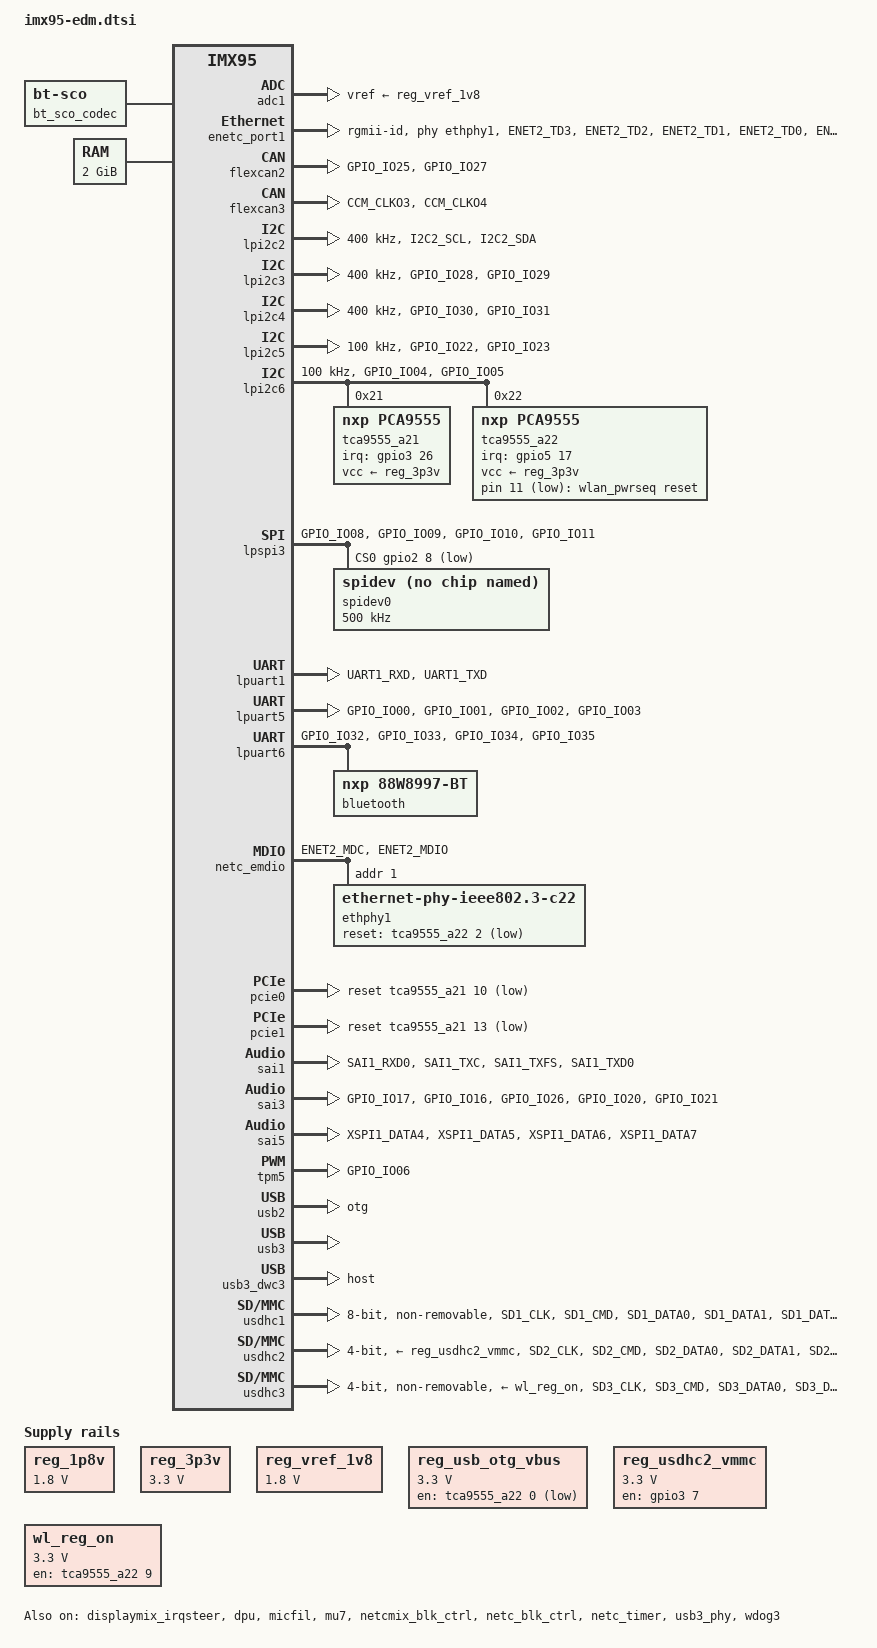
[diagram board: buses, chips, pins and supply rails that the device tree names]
// SPDX-License-Identifier: (GPL-2.0 OR MIT)
/*
 * Copyright 2025 TechNexion Ltd.
 *
 * Author: Richard Hu <richard.hu@technexion.com>
 *
 */

/dts-v1/;

#include "imx95.dtsi"

/ {
	bt_sco_codec: bt_sco_codec {
		compatible = "linux,bt-sco";
		#sound-dai-cells = <1>;
	};

	chosen {
		#address-cells = <2>;
		#size-cells = <2>;
		stdout-path = &lpuart1;

		/* will be updated by U-boot when booting Xen */
		module@0 {
			compatible = "xen,linux-zimage", "xen,multiboot-module";
			reg = <0x00000000 0x9e000000 0x00000000 0x2000000>;
			bootargs = "earlycon=xen console=hvc0 loglevel=8 root=/dev/mmcblk1p2 rw rootwait";
		};
	};

	cm7: imx95-cm7 {
		compatible = "fsl,imx95-cm7";
		mboxes = <&mu7 0 1
			  &mu7 1 1
			  &mu7 3 1>;
		mbox-names = "tx", "rx", "rxdb";
		memory-region = <&vdevbuffer>, <&vdev0vring0>, <&vdev0vring1>,
				<&vdev1vring0>, <&vdev1vring1>, <&rsc_table>;
		/* cpuid and lmmid must align with SM firmware */
		fsl,cpu-id = <1>;
		fsl,lmm-id = <1>;
		fsl,startup-delay-ms = <50>;
		status = "okay";
	};

	reg_1p8v: regulator-1p8v {
		compatible = "regulator-fixed";
		regulator-max-microvolt = <1800000>;
		regulator-min-microvolt = <1800000>;
		regulator-name = "+V1.8_SW";
	};

	reg_3p3v: regulator-3p3v {
		compatible = "regulator-fixed";
		regulator-max-microvolt = <3300000>;
		regulator-min-microvolt = <3300000>;
		regulator-name = "+V3.3_SW";
	};

	reg_vref_1v8: regulator-adc-vref {
		compatible = "regulator-fixed";
		regulator-max-microvolt = <1800000>;
		regulator-min-microvolt = <1800000>;
		regulator-name = "vref_1v8";
	};

	reg_usb_otg_vbus: regulator-otg-vbus {
		compatible = "regulator-fixed";
		enable-active-low;
		pinctrl-names = "default";
		regulator-max-microvolt = <3300000>;
		regulator-min-microvolt = <3300000>;
		regulator-name = "usb_otg_vbus";
		gpio = <&tca9555_a22 0 GPIO_ACTIVE_LOW>;
	};

	reg_usdhc2_vmmc: regulator-usdhc2 {
		compatible = "regulator-fixed";
		off-on-delay-us = <12000>;
		pinctrl-0 = <&pinctrl_reg_usdhc2_vmmc>;
		pinctrl-names = "default";
		regulator-max-microvolt = <3300000>;
		regulator-min-microvolt = <3300000>;
		regulator-name = "VDD_SD2_3V3";
		gpio = <&gpio3 7 GPIO_ACTIVE_HIGH>;
		enable-active-high;
	};

	wl_reg_on: regulator-wl-reg-on {
		compatible = "regulator-fixed";
		pinctrl-names = "default";
		regulator-max-microvolt = <3300000>;
		regulator-min-microvolt = <3300000>;
		regulator-name = "WL_REG_ON";
		startup-delay-us = <100>;
		gpio = <&tca9555_a22 9 GPIO_ACTIVE_HIGH>;
		enable-active-high;
		/* WL_REG_ON */
		/*
		 * IW612 wifi chip needs more delay than other wifi chips to complete
		 * the host interface initialization after power up, otherwise the
		 * internal state of IW612 may be unstable, resulting in the failure of
		 * the SDIO3.0 switch voltage.
		 */
		off-on-delay = <20000>;
	};

	reserved-memory {
		ranges;
		#address-cells = <2>;
		#size-cells = <2>;

		linux_cma: linux,cma {
			compatible = "shared-dma-pool";
			alloc-ranges = <0 0x80000000 0 0x7f000000>;
			reusable;
			size = <0 0x3c000000>;
			linux,cma-default;
		};

		vdev0vring0: vdev0vring0@88000000 {
			reg = <0 0x88000000 0 0x8000>;
			no-map;
		};

		vdev0vring1: vdev0vring1@88008000 {
			reg = <0 0x88008000 0 0x8000>;
			no-map;
		};

		vdev1vring0: vdev1vring0@88010000 {
			reg = <0 0x88010000 0 0x8000>;
			no-map;
		};

		vdev1vring1: vdev1vring1@88018000 {
			reg = <0 0x88018000 0 0x8000>;
			no-map;
		};

		vdevbuffer: vdevbuffer@88020000 {
			compatible = "shared-dma-pool";
			reg = <0 0x88020000 0 0x100000>;
			no-map;
		};

		rsc_table: rsc-table@88220000 {
			reg = <0 0x88220000 0 0x1000>;
			no-map;
		};

		vpu_boot: vpu_boot@a0000000 {
			reg = <0 0xa0000000 0 0x100000>;
			no-map;
		};
	};

	sound-bt-sco {
		compatible = "simple-audio-card";
		simple-audio-card,bitclock-inversion;
		simple-audio-card,bitclock-master = <&btcpu>;
		simple-audio-card,format = "dsp_a";
		simple-audio-card,frame-master = <&btcpu>;
		simple-audio-card,name = "bt-sco-audio";

		simple-audio-card,codec {
			sound-dai = <&bt_sco_codec 1>;
		};

		btcpu: simple-audio-card,cpu {
			dai-tdm-slot-num = <2>;
			dai-tdm-slot-width = <16>;
			sound-dai = <&sai1>;
		};
	};

	sound-micfil {
		compatible = "fsl,imx-audio-card";
		model = "micfil-audio";

		pri-dai-link {
			format = "i2s";
			link-name = "micfil hifi";

			cpu {
				sound-dai = <&micfil>;
			};
		};
	};

	wlan_pwrseq: wifi-pwrseq {
		compatible = "mmc-pwrseq-simple";
		/* SDIO_REG_ON */
		reset-gpios = <&tca9555_a22 11 GPIO_ACTIVE_LOW>;
	};

	memory@80000000 {
		reg = <0x0 0x80000000 0 0x80000000>;
		device_type = "memory";
	};
};

&adc1 {
	vref-supply = <&reg_vref_1v8>;
	status = "okay";
};

&displaymix_irqsteer {
	status = "okay";
};

&dpu {
	status = "okay";
};

&enetc_port1 {
	/* RTL8211F on SOM */
	pinctrl-names = "default";
	phy-handle = <&ethphy1>;
	phy-mode = "rgmii-id";
	pinctrl-0 = <&pinctrl_enetc1>;
	status = "okay";
};

&flexcan2 {
	/* CAN_2 on EDM */
	pinctrl-0 = <&pinctrl_flexcan2>;
	pinctrl-names = "default";
};

&flexcan3 {
	/* CAN_1 on EDM */
	pinctrl-0 = <&pinctrl_flexcan3>;
	pinctrl-names = "default";
};

&lpi2c2 {
	clock-frequency = <400000>;
	pinctrl-0 = <&pinctrl_lpi2c2>;
	pinctrl-names = "default";
	status = "okay";
};

&lpi2c3 {
	/* I2C_C on EDM */
	clock-frequency = <400000>;
	pinctrl-0 = <&pinctrl_lpi2c3>;
	pinctrl-names = "default";
	status = "okay";
};

&lpi2c4 {
	/* I2C_D on EDM */
	clock-frequency = <400000>;
	pinctrl-0 = <&pinctrl_lpi2c4>;
	pinctrl-names = "default";
	status = "okay";
};

&lpi2c5 {
	/* I2C_B on EDM */
	clock-frequency = <100000>;
	pinctrl-0 = <&pinctrl_lpi2c5>;
	pinctrl-names = "default";
	status = "okay";
};

&lpi2c6 {
	/* I2C_A on EDM */
	#address-cells = <1>;
	#size-cells = <0>;
	clock-frequency = <100000>;
	pinctrl-0 = <&pinctrl_lpi2c6>;
	pinctrl-names = "default";
	status = "okay";

	tca9555_a21: gpio@21 {
		compatible = "nxp,pca9555";
		reg = <0x21>;
		#interrupt-cells = <2>;
		interrupt-controller;
		interrupt-parent = <&gpio3>;
		interrupts = <26 IRQ_TYPE_LEVEL_LOW>;
		#gpio-cells = <2>;
		gpio-controller;
		gpio-line-names = "LVDS0_VDDEN", "LVDS0_BL_EN", "LVDS1_VDDEN", "LVDS1_BL_EN", "CSI1_RST_N",
				"CSI1_PWDN", "CSI2_RST_N", "CSI2_PWDN", "PCIE1_WAKE_N", "PCIE1_CLKREQ_N",
				"PCIE1_RST_N", "PCIE2_WAKE_N", "PCIE2_CLKREQ_N", "PCIE2_RST_N", "EXP_GPIO5",
				"USB_SS_SEL";
		pinctrl-0 = <&pinctrl_tca9555_a21_irq>;
		pinctrl-names = "default";
		vcc-supply = <&reg_3p3v>;
		status = "okay";

		tca9555_a21_pins_default: tca9555_a21_pins_default {
			drive-open-drain;
			pins = "PCIE1_CLKREQ_N", "PCIE2_CLKREQ_N";
		};
	};

	tca9555_a22: gpio@22 {
		compatible = "nxp,pca9555";
		reg = <0x22>;
		#gpio-cells = <2>;
		gpio-controller;
		gpio-line-names = "USB_OTG_PWR_EN", "ENET1_RST", "ENET2_RST", "BT_REG_ON", "RST_IND",
				"WL_GPIO0", "HOST_WAKE_WL", "HOST_WAKE_BT", "IW612_IND_RST_15.4", "WL_REG_ON",
				"IW612_GPIO27", "SDIO_REG_ON", "EXP_GPIO1", "EXP_GPIO2", "EXP_GPIO3",
				"EXP_GPIO4";
		vcc-supply = <&reg_3p3v>;
		#interrupt-cells = <2>;
		interrupt-controller;
		interrupt-parent = <&gpio5>;
		interrupts = <17 IRQ_TYPE_LEVEL_LOW>;
		pinctrl-0 = <&pinctrl_tca9555_a22_irq>;
		pinctrl-names = "default";
		status = "okay";

	};
};

&lpspi3 {
	/* lpspi3 work as a master bus */
	cs-gpios = <&gpio2 8 GPIO_ACTIVE_LOW>;
	pinctrl-0 = <&pinctrl_lpspi3>;
	pinctrl-names = "default";
	fsl,spi-num-chipselects = <1>;
	status = "okay";

	spidev0: spi@0 {
		compatible = "rohm,dh2228fv";
		reg = <0>;
		spi-max-frequency = <500000>;
	};
};

&lpuart1 {
	/* console */
	pinctrl-names = "default";
	pinctrl-0 = <&pinctrl_uart1>;
	status = "okay";
};

&lpuart5 {
	/* RS232 */
	pinctrl-names = "default";
	pinctrl-0 = <&pinctrl_uart5>;
	status = "okay";
};

&lpuart6 {
	/* BT */
	pinctrl-names = "default";
	pinctrl-0 = <&pinctrl_uart6>;
	status = "okay";

	bluetooth {
		compatible = "nxp,88w8997-bt";
		fw-init-baudrate = <3000000>;
	};
};

&micfil {
	assigned-clocks = <&scmi_clk IMX95_CLK_AUDIOPLL1_VCO>,
			  <&scmi_clk IMX95_CLK_AUDIOPLL2_VCO>,
			  <&scmi_clk IMX95_CLK_AUDIOPLL1>,
			  <&scmi_clk IMX95_CLK_AUDIOPLL2>,
			  <&scmi_clk IMX95_CLK_PDM>;
	assigned-clock-parents = <0>, <0>, <0>, <0>,
				 <&scmi_clk IMX95_CLK_AUDIOPLL1>;
	assigned-clock-rates = <3932160000>,
			       <3612672000>, <393216000>,
			       <361267200>, <49152000>;
	#sound-dai-cells = <0>;
	pinctrl-0 = <&pinctrl_pdm>;
	pinctrl-names = "default";
	status = "okay";
};

&mu7 {
	status = "okay";
};

&netcmix_blk_ctrl {
	status = "okay";
};

&netc_blk_ctrl {
	status = "okay";
};

&netc_emdio {
	pinctrl-0 = <&pinctrl_emdio>;
	pinctrl-names = "default";
	status = "okay";

	/* RTL8211F on SOM */
	ethphy1: ethernet-phy@1 {
		reg = <1>;
		compatible = "ethernet-phy-ieee802.3-c22";
		eee-broken-1000t;
		reset-assert-us = <35000>;
		reset-deassert-us = <75000>;
		reset-gpios = <&tca9555_a22 2 GPIO_ACTIVE_LOW>;
		realtek,aldps-disable;
		realtek,clkout-disable;
	};
};

&netc_timer {
	status = "okay";
};

&pcie0 {
	reset-gpio = <&tca9555_a21 10 GPIO_ACTIVE_LOW>;
};

&pcie1 {
	reset-gpio = <&tca9555_a21 13 GPIO_ACTIVE_LOW>;
};

&sai1 {
	assigned-clocks = <&scmi_clk IMX95_CLK_AUDIOPLL1_VCO>,
			  <&scmi_clk IMX95_CLK_AUDIOPLL2_VCO>,
			  <&scmi_clk IMX95_CLK_AUDIOPLL1>,
			  <&scmi_clk IMX95_CLK_AUDIOPLL2>,
			  <&scmi_clk IMX95_CLK_SAI1>;
	assigned-clock-parents = <0>, <0>, <0>, <0>,
				 <&scmi_clk IMX95_CLK_AUDIOPLL1>;
	assigned-clock-rates = <3932160000>,
			       <3612672000>, <393216000>,
			       <361267200>, <12288000>;
	#sound-dai-cells = <0>;
	pinctrl-0 = <&pinctrl_sai1>;
	pinctrl-names = "default";
	fsl,sai-mclk-direction-output;
	status = "okay";
};

&sai3 {
	assigned-clocks = <&scmi_clk IMX95_CLK_AUDIOPLL1_VCO>,
			  <&scmi_clk IMX95_CLK_AUDIOPLL2_VCO>,
			  <&scmi_clk IMX95_CLK_AUDIOPLL1>,
			  <&scmi_clk IMX95_CLK_AUDIOPLL2>,
			  <&scmi_clk IMX95_CLK_SAI3>;
	assigned-clock-parents = <0>, <0>, <0>, <0>,
				 <&scmi_clk IMX95_CLK_AUDIOPLL1>;
	assigned-clock-rates = <3932160000>,
			       <3612672000>, <393216000>,
			       <361267200>, <12288000>;
	#sound-dai-cells = <0>;
	pinctrl-0 = <&pinctrl_sai3>;
	pinctrl-names = "default";
	fsl,sai-mclk-direction-output;
	status = "okay";
};

&sai5 {
	assigned-clocks = <&scmi_clk IMX95_CLK_AUDIOPLL1_VCO>,
			  <&scmi_clk IMX95_CLK_AUDIOPLL2_VCO>,
			  <&scmi_clk IMX95_CLK_AUDIOPLL1>,
			  <&scmi_clk IMX95_CLK_AUDIOPLL2>,
			  <&scmi_clk IMX95_CLK_SAI5>;
	assigned-clock-parents = <0>, <0>, <0>, <0>,
				 <&scmi_clk IMX95_CLK_AUDIOPLL1>;
	assigned-clock-rates = <3932160000>,
			       <3612672000>, <393216000>,
			       <361267200>, <12288000>;
	#sound-dai-cells = <0>;
	pinctrl-0 = <&pinctrl_sai5>;
	pinctrl-names = "default";
	fsl,sai-mclk-direction-output;
	status = "okay";
};

&thermal_zones {
	a55-thermal {
		trips {
			atrip2: trip2 {
				hysteresis = <2000>;
				temperature = <55000>;
				type = "active";
			};

			atrip3: trip3 {
				hysteresis = <2000>;
				temperature = <65000>;
				type = "active";
			};

			atrip4: trip4 {
				hysteresis = <2000>;
				temperature = <75000>;
				type = "active";
			};
		};
	};

	pf09 {
		polling-delay = <2000>;
		polling-delay-passive = <250>;
		thermal-sensors = <&scmi_sensor 2>;

		trips {

			pf09_alert: trip0 {
				hysteresis = <2000>;
				temperature = <140000>;
				type = "passive";
			};

			pf09_crit: trip1 {
				hysteresis = <2000>;
				temperature = <155000>;
				type = "critical";
			};
		};
	};

	pf53_arm {
		polling-delay = <2000>;
		polling-delay-passive = <250>;
		thermal-sensors = <&scmi_sensor 4>;

		cooling-maps {
			map0 {
				cooling-device = <&A55_0 THERMAL_NO_LIMIT THERMAL_NO_LIMIT>,
					<&A55_1 THERMAL_NO_LIMIT THERMAL_NO_LIMIT>,
					<&A55_2 THERMAL_NO_LIMIT THERMAL_NO_LIMIT>,
					<&A55_3 THERMAL_NO_LIMIT THERMAL_NO_LIMIT>,
					<&A55_4 THERMAL_NO_LIMIT THERMAL_NO_LIMIT>,
					<&A55_5 THERMAL_NO_LIMIT THERMAL_NO_LIMIT>;
				trip = <&pf5301_alert>;
			};
		};

		trips {

			pf5301_alert: trip0 {
				hysteresis = <2000>;
				temperature = <140000>;
				type = "passive";
			};

			pf5301_crit: trip1 {
				hysteresis = <2000>;
				temperature = <155000>;
				type = "critical";
			};
		};
	};

	pf53_soc {
		polling-delay = <2000>;
		polling-delay-passive = <250>;
		thermal-sensors = <&scmi_sensor 3>;

		trips {

			pf5302_alert: trip0 {
				hysteresis = <2000>;
				temperature = <140000>;
				type = "passive";
			};

			pf5302_crit: trip1 {
				hysteresis = <2000>;
				temperature = <155000>;
				type = "critical";
			};
		};
	};
};

&tpm5 {
	pinctrl-0 = <&pinctrl_tpm5>;
	pinctrl-names = "default";
	status = "okay";
};

&usb2 {
	adp-disable;
	dr_mode = "otg";
	hnp-disable;
	srp-disable;
	usb-role-switch;
	picophy,dc-vol-level-adjust = <7>;
	picophy,pre-emp-curr-control = <3>;
	status = "okay";
};

&usb3 {
	status = "okay";
};

&usb3_dwc3 {
	dr_mode = "host";
	status = "okay";
};

&usb3_phy {
	fsl,phy-pcs-tx-deemph-3p5db-attenuation-db = <17>;
	fsl,phy-pcs-tx-swing-full-percent = <100>;
	fsl,phy-tx-preemp-amp-tune-microamp = <600>;
	fsl,phy-tx-vboost-level-microvolt = <1156>;
	status = "okay";
};

&usdhc1 {
	bus-width = <8>;
	non-removable;
	no-sd;
	no-sdio;
	pinctrl-0 = <&pinctrl_usdhc1>;
	pinctrl-1 = <&pinctrl_usdhc1_100mhz>;
	pinctrl-2 = <&pinctrl_usdhc1_200mhz>;
	pinctrl-3 = <&pinctrl_usdhc1>;
	pinctrl-names = "default", "state_100mhz", "state_200mhz", "sleep";
	status = "okay";
};

&usdhc2 {
	bus-width = <4>;
	cd-gpios = <&gpio3 00 GPIO_ACTIVE_LOW>;
	pinctrl-0 = <&pinctrl_usdhc2>, <&pinctrl_usdhc2_gpio>;
	pinctrl-1 = <&pinctrl_usdhc2_100mhz>, <&pinctrl_usdhc2_gpio>;
	pinctrl-2 = <&pinctrl_usdhc2_200mhz>, <&pinctrl_usdhc2_gpio>;
	pinctrl-3 = <&pinctrl_usdhc2>, <&pinctrl_usdhc2_gpio>;
	pinctrl-names = "default", "state_100mhz", "state_200mhz", "sleep";
	vmmc-supply = <&reg_usdhc2_vmmc>;
	status = "okay";
};

&usdhc3 {
	bus-width = <4>;
	keep-power-in-suspend;
	mmc-pwrseq = <&wlan_pwrseq>;
	non-removable;
	pinctrl-0 = <&pinctrl_usdhc3>;
	pinctrl-1 = <&pinctrl_usdhc3_100mhz>;
	pinctrl-2 = <&pinctrl_usdhc3_200mhz>;
	pinctrl-3 = <&pinctrl_usdhc3>;
	pinctrl-names = "default", "state_100mhz", "state_200mhz", "sleep";
	vmmc-supply = <&wl_reg_on>;
	wakeup-source;
	status = "okay";
};

&vpuctrl {
	boot = <&vpu_boot>;
	sram = <&sram1>;
};

&wdog3 {
	fsl,ext-reset-output;
	status = "okay";
};

&scmi_iomuxc {
	pinctrl_emdio: emdiogrp {
		fsl,pins = <
			IMX95_PAD_ENET2_MDC__NETCMIX_TOP_NETC_MDC		0x57e
			IMX95_PAD_ENET2_MDIO__NETCMIX_TOP_NETC_MDIO		0x97e
		>;
	};

	pinctrl_enetc1: enetc1grp {
		fsl,pins = <
			IMX95_PAD_ENET2_TD3__NETCMIX_TOP_ETH1_RGMII_TD3		0x57e
			IMX95_PAD_ENET2_TD2__NETCMIX_TOP_ETH1_RGMII_TD2		0x57e
			IMX95_PAD_ENET2_TD1__NETCMIX_TOP_ETH1_RGMII_TD1		0x57e
			IMX95_PAD_ENET2_TD0__NETCMIX_TOP_ETH1_RGMII_TD0		0x57e
			IMX95_PAD_ENET2_TX_CTL__NETCMIX_TOP_ETH1_RGMII_TX_CTL	0x57e
			IMX95_PAD_ENET2_TXC__NETCMIX_TOP_ETH1_RGMII_TX_CLK	0x58e
			IMX95_PAD_ENET2_RX_CTL__NETCMIX_TOP_ETH1_RGMII_RX_CTL	0x57e
			IMX95_PAD_ENET2_RXC__NETCMIX_TOP_ETH1_RGMII_RX_CLK	0x58e
			IMX95_PAD_ENET2_RD0__NETCMIX_TOP_ETH1_RGMII_RD0		0x57e
			IMX95_PAD_ENET2_RD1__NETCMIX_TOP_ETH1_RGMII_RD1		0x57e
			IMX95_PAD_ENET2_RD2__NETCMIX_TOP_ETH1_RGMII_RD2		0x57e
			IMX95_PAD_ENET2_RD3__NETCMIX_TOP_ETH1_RGMII_RD3		0x57e
		>;
	};

	pinctrl_flexcan2: flexcan2grp {
		fsl,pins = <
			IMX95_PAD_GPIO_IO25__CAN2_TX			0x39e
			IMX95_PAD_GPIO_IO27__CAN2_RX			0x39e
		>;
	};

	pinctrl_flexcan3: flexcan1grp {
		fsl,pins = <
			IMX95_PAD_CCM_CLKO3__CAN3_TX			0x39e
			IMX95_PAD_CCM_CLKO4__CAN3_RX			0x39e
		>;
	};

	pinctrl_lpi2c1: lpi2c1grp {
		fsl,pins = <
			IMX95_PAD_I2C1_SCL__AONMIX_TOP_LPI2C1_SCL	0x40000b9e
			IMX95_PAD_I2C1_SDA__AONMIX_TOP_LPI2C1_SDA	0x40000b9e
		>;
	};

	pinctrl_lpi2c2: lpi2c2grp {
		fsl,pins = <
			IMX95_PAD_I2C2_SCL__AONMIX_TOP_LPI2C2_SCL	0x40000b9e
			IMX95_PAD_I2C2_SDA__AONMIX_TOP_LPI2C2_SDA	0x40000b9e
		>;
	};

	pinctrl_lpi2c3: lpi2c3grp {
		fsl,pins = <
			IMX95_PAD_GPIO_IO28__LPI2C3_SDA			0x40000b9e
			IMX95_PAD_GPIO_IO29__LPI2C3_SCL			0x40000b9e
		>;
	};

	pinctrl_lpi2c4: lpi2c4grp {
		fsl,pins = <
			IMX95_PAD_GPIO_IO30__LPI2C4_SDA			0x40000b9e
			IMX95_PAD_GPIO_IO31__LPI2C4_SCL			0x40000b9e
		>;
	};

	pinctrl_lpi2c5: lpi2c5grp {
		fsl,pins = <
			IMX95_PAD_GPIO_IO22__LPI2C5_SDA			0x40000b9e
			IMX95_PAD_GPIO_IO23__LPI2C5_SCL			0x40000b9e
		>;
	};

	pinctrl_lpi2c6: lpi2c6grp {
		fsl,pins = <
			IMX95_PAD_GPIO_IO04__LPI2C6_SDA			0x40000b9e
			IMX95_PAD_GPIO_IO05__LPI2C6_SCL			0x40000b9e
		>;
	};

	pinctrl_lpspi3: lpspi3grp {
		fsl,pins = <
			IMX95_PAD_GPIO_IO08__GPIO2_IO_BIT8	0x3fe
			IMX95_PAD_GPIO_IO09__LPSPI3_SIN		0x3fe
			IMX95_PAD_GPIO_IO10__LPSPI3_SOUT	0x3fe
			IMX95_PAD_GPIO_IO11__LPSPI3_SCK		0x3fe
		>;
	};

	pinctrl_i3c2: i3c2grp {
		fsl,pins = <
			IMX95_PAD_ENET1_MDC__I3C2_SCL			0x40000186
			IMX95_PAD_ENET1_MDIO__I3C2_SDA			0x40000186
		>;
	};


	pinctrl_i3c2_sleep: i3c2sleepgrp {
		fsl,pins = <
			IMX95_PAD_ENET1_MDC__GPIO4_IO_BIT0			0x31e
			IMX95_PAD_ENET1_MDIO__GPIO4_IO_BIT1			0x31e
		>;
	};

	pinctrl_mipi_dsi_csi: mipidsigrp {
		fsl,pins = <
			IMX95_PAD_CCM_CLKO2__GPIO3_IO_BIT27			0x31e
		>;
	};

	pinctrl_tca9555_a21_irq: pca9555_a21_irqgrp {
		fsl,pins = <
			IMX95_PAD_CCM_CLKO1__GPIO3_IO_BIT26			0x31e
		>;
	};

	pinctrl_tca9555_a22_irq: pca9555_a22_irqgrp {
		fsl,pins = <
			IMX95_PAD_GPIO_IO37__GPIO5_IO_BIT17			0x31e
		>;
	};

	pinctrl_pdm: pdmgrp {
		fsl,pins = <
			IMX95_PAD_PDM_CLK__AONMIX_TOP_PDM_CLK				0x31e
			IMX95_PAD_PDM_BIT_STREAM0__AONMIX_TOP_PDM_BIT_STREAM_BIT0	0x31e
		>;
	};

	pinctrl_reg_usdhc2_vmmc: regusdhc2vmmcgrp {
		fsl,pins = <
			IMX95_PAD_SD2_RESET_B__GPIO3_IO_BIT7			0x31e
		>;
	};

	pinctrl_sai1: sai1grp {
		fsl,pins = <
			IMX95_PAD_SAI1_RXD0__AONMIX_TOP_SAI1_RX_DATA_BIT0    0x31e
			IMX95_PAD_SAI1_TXC__AONMIX_TOP_SAI1_TX_BCLK      0x31e
			IMX95_PAD_SAI1_TXFS__AONMIX_TOP_SAI1_TX_SYNC     0x31e
			IMX95_PAD_SAI1_TXD0__AONMIX_TOP_SAI1_TX_DATA_BIT0    0x31e
		>;
	};

	pinctrl_sai3: sai3grp {
		fsl,pins = <
			IMX95_PAD_GPIO_IO17__SAI3_MCLK					0x31e
			IMX95_PAD_GPIO_IO16__SAI3_TX_BCLK				0x31e
			IMX95_PAD_GPIO_IO26__SAI3_TX_SYNC				0x31e
			IMX95_PAD_GPIO_IO20__SAI3_RX_DATA_BIT0			0x31e
			IMX95_PAD_GPIO_IO21__SAI3_TX_DATA_BIT0			0x31e
		>;
	};

	pinctrl_sai5: sai5grp {
		fsl,pins = <
			IMX95_PAD_XSPI1_DATA4__SAI5_TX_DATA_BIT0			0x31e
			IMX95_PAD_XSPI1_DATA5__SAI5_TX_SYNC					0x31e
			IMX95_PAD_XSPI1_DATA6__SAI5_TX_BCLK					0x31e
			IMX95_PAD_XSPI1_DATA7__SAI5_RX_DATA_BIT0			0x31e
		>;
	};

	pinctrl_tpm5: tpm5grp {
		fsl,pins = <
			IMX95_PAD_GPIO_IO06__TPM5_CH0			0x51e
		>;
	};

	pinctrl_uart1: uart1grp {
		fsl,pins = <
			IMX95_PAD_UART1_RXD__AONMIX_TOP_LPUART1_RX      0x31e
			IMX95_PAD_UART1_TXD__AONMIX_TOP_LPUART1_TX      0x31e
		>;
	};

	pinctrl_uart5: uart5grp {
		fsl,pins = <
			IMX95_PAD_GPIO_IO00__LPUART5_TX				0x31e
			IMX95_PAD_GPIO_IO01__LPUART5_RX				0x31e
			IMX95_PAD_GPIO_IO02__LPUART5_CTS_B			0x31e
			IMX95_PAD_GPIO_IO03__LPUART5_RTS_B			0x31e
		>;
	};

	pinctrl_uart6: uart6grp {
		fsl,pins = <
			IMX95_PAD_GPIO_IO32__LPUART6_TX				0x31e
			IMX95_PAD_GPIO_IO33__LPUART6_RX				0x31e
			IMX95_PAD_GPIO_IO34__LPUART6_CTS_B			0x31e
			IMX95_PAD_GPIO_IO35__LPUART6_RTS_B			0x31e
		>;
	};

	pinctrl_usdhc1: usdhc1grp {
		fsl,pins = <
			IMX95_PAD_SD1_CLK__USDHC1_CLK				0x158e
			IMX95_PAD_SD1_CMD__USDHC1_CMD				0x138e
			IMX95_PAD_SD1_DATA0__USDHC1_DATA0			0x138e
			IMX95_PAD_SD1_DATA1__USDHC1_DATA1			0x138e
			IMX95_PAD_SD1_DATA2__USDHC1_DATA2			0x138e
			IMX95_PAD_SD1_DATA3__USDHC1_DATA3			0x138e
			IMX95_PAD_SD1_DATA4__USDHC1_DATA4			0x138e
			IMX95_PAD_SD1_DATA5__USDHC1_DATA5			0x138e
			IMX95_PAD_SD1_DATA6__USDHC1_DATA6			0x138e
			IMX95_PAD_SD1_DATA7__USDHC1_DATA7			0x138e
			IMX95_PAD_SD1_STROBE__USDHC1_STROBE			0x158e
		>;
	};

	pinctrl_usdhc1_100mhz: usdhc1-100mhzgrp {
		fsl,pins = <
			IMX95_PAD_SD1_CLK__USDHC1_CLK				0x158e
			IMX95_PAD_SD1_CMD__USDHC1_CMD				0x138e
			IMX95_PAD_SD1_DATA0__USDHC1_DATA0			0x138e
			IMX95_PAD_SD1_DATA1__USDHC1_DATA1			0x138e
			IMX95_PAD_SD1_DATA2__USDHC1_DATA2			0x138e
			IMX95_PAD_SD1_DATA3__USDHC1_DATA3			0x138e
			IMX95_PAD_SD1_DATA4__USDHC1_DATA4			0x138e
			IMX95_PAD_SD1_DATA5__USDHC1_DATA5			0x138e
			IMX95_PAD_SD1_DATA6__USDHC1_DATA6			0x138e
			IMX95_PAD_SD1_DATA7__USDHC1_DATA7			0x138e
			IMX95_PAD_SD1_STROBE__USDHC1_STROBE			0x158e
		>;
	};

	pinctrl_usdhc1_200mhz: usdhc1-200mhzgrp {
		fsl,pins = <
			IMX95_PAD_SD1_CLK__USDHC1_CLK				0x15fe
			IMX95_PAD_SD1_CMD__USDHC1_CMD				0x13fe
			IMX95_PAD_SD1_DATA0__USDHC1_DATA0			0x13fe
			IMX95_PAD_SD1_DATA1__USDHC1_DATA1			0x13fe
			IMX95_PAD_SD1_DATA2__USDHC1_DATA2			0x13fe
			IMX95_PAD_SD1_DATA3__USDHC1_DATA3			0x13fe
			IMX95_PAD_SD1_DATA4__USDHC1_DATA4			0x13fe
			IMX95_PAD_SD1_DATA5__USDHC1_DATA5			0x13fe
			IMX95_PAD_SD1_DATA6__USDHC1_DATA6			0x13fe
			IMX95_PAD_SD1_DATA7__USDHC1_DATA7			0x13fe
			IMX95_PAD_SD1_STROBE__USDHC1_STROBE			0x15fe
		>;
	};

	pinctrl_usdhc2_gpio: usdhc2gpiogrp {
		fsl,pins = <
			IMX95_PAD_SD2_CD_B__GPIO3_IO_BIT0			0x31e
		>;
	};

	pinctrl_usdhc2: usdhc2grp {
		fsl,pins = <
			IMX95_PAD_SD2_CLK__USDHC2_CLK				0x158e
			IMX95_PAD_SD2_CMD__USDHC2_CMD				0x138e
			IMX95_PAD_SD2_DATA0__USDHC2_DATA0			0x138e
			IMX95_PAD_SD2_DATA1__USDHC2_DATA1			0x138e
			IMX95_PAD_SD2_DATA2__USDHC2_DATA2			0x138e
			IMX95_PAD_SD2_DATA3__USDHC2_DATA3			0x138e
			IMX95_PAD_SD2_VSELECT__USDHC2_VSELECT			0x51e
		>;
	};

	pinctrl_usdhc2_100mhz: usdhc2-100mhzgrp {
		fsl,pins = <
			IMX95_PAD_SD2_CLK__USDHC2_CLK				0x158e
			IMX95_PAD_SD2_CMD__USDHC2_CMD				0x138e
			IMX95_PAD_SD2_DATA0__USDHC2_DATA0			0x138e
			IMX95_PAD_SD2_DATA1__USDHC2_DATA1			0x138e
			IMX95_PAD_SD2_DATA2__USDHC2_DATA2			0x138e
			IMX95_PAD_SD2_DATA3__USDHC2_DATA3			0x138e
			IMX95_PAD_SD2_VSELECT__USDHC2_VSELECT			0x51e
		>;
	};

	pinctrl_usdhc2_200mhz: usdhc2-200mhzgrp {
		fsl,pins = <
			IMX95_PAD_SD2_CLK__USDHC2_CLK				0x15be
			IMX95_PAD_SD2_CMD__USDHC2_CMD				0x13be
			IMX95_PAD_SD2_DATA0__USDHC2_DATA0			0x13be
			IMX95_PAD_SD2_DATA1__USDHC2_DATA1			0x13be
			IMX95_PAD_SD2_DATA2__USDHC2_DATA2			0x13be
			IMX95_PAD_SD2_DATA3__USDHC2_DATA3			0x13be
			IMX95_PAD_SD2_VSELECT__USDHC2_VSELECT			0x51e
		>;
	};

	pinctrl_usdhc3: usdhc3grp {
		fsl,pins = <
			IMX95_PAD_SD3_CLK__USDHC3_CLK				0x158e
			IMX95_PAD_SD3_CMD__USDHC3_CMD				0x138e
			IMX95_PAD_SD3_DATA0__USDHC3_DATA0			0x138e
			IMX95_PAD_SD3_DATA1__USDHC3_DATA1			0x138e
			IMX95_PAD_SD3_DATA2__USDHC3_DATA2			0x138e
			IMX95_PAD_SD3_DATA3__USDHC3_DATA3			0x138e
		>;
	};

	pinctrl_usdhc3_100mhz: usdhc3-100mhzgrp {
		fsl,pins = <
			IMX95_PAD_SD3_CLK__USDHC3_CLK				0x158e
			IMX95_PAD_SD3_CMD__USDHC3_CMD				0x138e
			IMX95_PAD_SD3_DATA0__USDHC3_DATA0			0x138e
			IMX95_PAD_SD3_DATA1__USDHC3_DATA1			0x138e
			IMX95_PAD_SD3_DATA2__USDHC3_DATA2			0x138e
			IMX95_PAD_SD3_DATA3__USDHC3_DATA3			0x138e
		>;
	};

	pinctrl_usdhc3_200mhz: usdhc3-200mhzgrp {
		fsl,pins = <
			IMX95_PAD_SD3_CLK__USDHC3_CLK				0x15fe
			IMX95_PAD_SD3_CMD__USDHC3_CMD				0x13fe
			IMX95_PAD_SD3_DATA0__USDHC3_DATA0			0x13fe
			IMX95_PAD_SD3_DATA1__USDHC3_DATA1			0x13fe
			IMX95_PAD_SD3_DATA2__USDHC3_DATA2			0x13fe
			IMX95_PAD_SD3_DATA3__USDHC3_DATA3			0x13fe
		>;
	};
};
